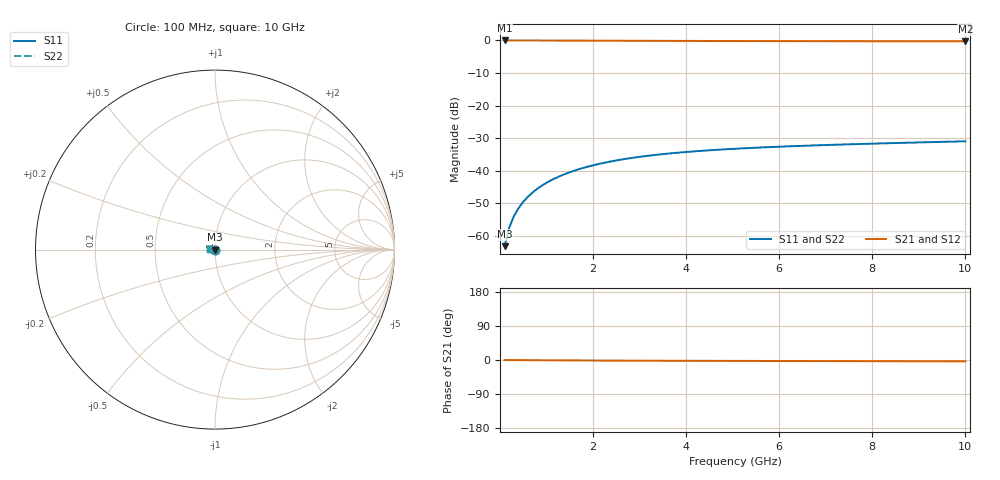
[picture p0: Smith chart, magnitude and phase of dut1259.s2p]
! Touchstone file exported from HFSS 2024.1.0
!  File:  C:/UserFiles/LocalFiles/RDL_TSV_Batchsim/temp_TSV1_1259_1780253333.aedt
!  Generated:  02:55:02 AM Jun  1, 2026
!  Design:  TSV1
!  Project:  temp_TSV1_1259_1780253333
!  Setup:  Setup1
!  Solution:  Sweep
! Variables:
!  dtsv = 7.7um
!  hbump = 3um
!  htsv = 53.13um
!  lrdl = 252.1521522um
!  p = 40
!  p1 = 42.61um
!  t = 500um
!  trdl = 3um
!  wrdl = 24.89489489um
# GHz S MA R 50.000000
! Terminal data exported
! Port[1] = TSV22_T1
! Port[2] = TSV22_T2
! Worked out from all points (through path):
!   100 points, 100 MHz to 10 GHz, reference 50 ohm
!   highest |S21| = 0.00 dB at 100 MHz (marker M1); lowest = -0.3 dB at 10 GHz (marker M2)
!   lowest |S11| = -63.2 dB at 100 MHz (marker M3), VSWR 1.00, Z = 50 - j0.0673 ohm
!   |S11| at or under -10 dB: start of sweep to end of sweep
!   |S22| runs from -63.2 to -31.0 dB; largest |S21 - S12| = 4e-15
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0.1  0.0006944 -75.5  0.9998 -0.1  0.9998 -0.1  0.0006944 -75.5
! Gamma 0 0 0 0
! Port Impedance 50 0 50 0
0.2  0.001346 -85.3  0.9997 -0.2  0.9997 -0.2  0.001346 -85.3
0.3  0.002006 -89.9  0.9996 -0.2  0.9996 -0.2  0.002006 -89.9
0.4  0.002666 -93.1  0.9994 -0.3  0.9994 -0.3  0.002666 -93.1
0.5  0.003324 -95.7  0.9992 -0.4  0.9992 -0.4  0.003324 -95.7
0.6  0.003978 -98.0  0.999 -0.5  0.999 -0.5  0.003978 -98.0
0.7  0.004626 -100.2  0.9987 -0.5  0.9987 -0.5  0.004626 -100.2
0.8  0.005268 -102.2  0.9984 -0.6  0.9984 -0.6  0.005268 -102.2
0.9  0.005901 -104.1  0.9981 -0.7  0.9981 -0.7  0.005901 -104.1
1.1  0.00714 -107.7  0.9973 -0.8  0.9973 -0.8  0.00714 -107.7
1.4  0.008914 -112.9  0.996 -1.0  0.996 -1.0  0.008914 -112.9
1.6  0.01003 -116.1  0.995 -1.1  0.995 -1.1  0.01003 -116.1
1.8  0.0111 -119.2  0.994 -1.2  0.994 -1.2  0.0111 -119.2
2.1  0.01259 -123.7  0.9924 -1.4  0.9924 -1.4  0.01259 -123.7
2.5  0.01438 -129.3  0.9903 -1.6  0.9903 -1.6  0.01438 -129.3
2.9  0.01596 -134.4  0.9882 -1.8  0.9882 -1.8  0.01596 -134.4
3.4  0.01767 -140.3  0.9857 -1.9  0.9857 -1.9  0.01767 -140.3
4.2  0.01989 -148.6  0.9822 -2.2  0.9822 -2.2  0.01989 -148.6
5.1  0.02183 -156.6  0.979 -2.4  0.979 -2.4  0.02183 -156.6
6.7  0.02439 -168.3  0.9748 -2.8  0.9748 -2.8  0.02439 -168.3
8.4  0.0265 -178.2  0.9719 -3.2  0.9719 -3.2  0.0265 -178.2
10  0.02831 173.9  0.9699 -3.6  0.9699 -3.6  0.02831 173.9
